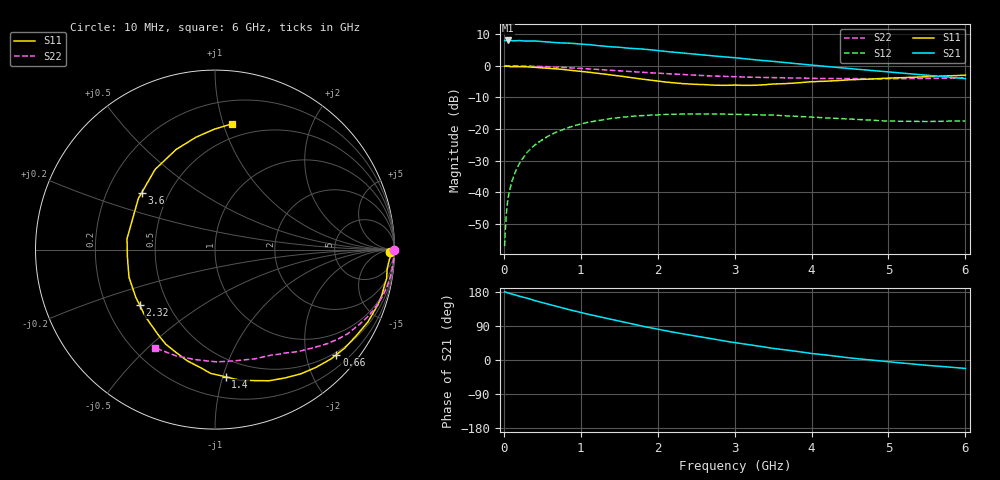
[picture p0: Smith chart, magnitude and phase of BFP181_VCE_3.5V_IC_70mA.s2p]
! Infineon Technologies  Discrete & RF Semiconductors
! BFP181
! VCE = 3.5 V,  IC =  70 mA
! Common Emitter S-Parameters:  Jan 2016
# GHz  S  MA  R  50
!  f  S11  S21  S12  S22
! GHz  MAG  ANG  MAG  ANG  MAG  ANG  MAG  ANG
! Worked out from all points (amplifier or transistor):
!   210 points, 10 MHz to 6 GHz, reference 50 ohm
!   highest |S21| = 8.0 dB at 50 MHz (marker M1)
!   |S21| within 3 dB of that: start of sweep to 1.929 GHz
!   unconditionally stable (mu >= 1): 3.534 GHz to end of sweep
!   at 185 MHz: K = 0.07, MSG = 19.8 dB, |S12| = -31.7 dB
!   at 1.52 GHz: K = 0.48, MSG = 11.1 dB, |S12| = -16.4 dB
!   at 6 GHz: K = 1.37, MAG = 3.1 dB, |S12| = -17.5 dB
!   S11 on the Smith chart (normalised r, x): 10 MHz: 62, -28; 660 MHz: 0.44, -2.62; 1.4 GHz: 0.36, -1.02; 2.32 GHz: 0.34, -0.29; 3.6 GHz: 0.35, +0.30; 6 GHz: 0.38, +1.07
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0.01  0.9737 -0.7  2.495 179.7  0.0014 93.0  0.9998 -0.1
0.03  0.9796 -1.9  2.492 178.7  0.0041 85.9  0.9978 -1.0
0.05  0.9748 -2.9  2.504 177.2  0.0073 90.2  0.997 -1.5
0.09  0.9667 -5.7  2.482 175.0  0.0128 86.6  0.9972 -2.6
0.135  0.968 -8.6  2.471 172.4  0.0189 83.9  0.9956 -3.9
0.2  0.9644 -12.6  2.497 168.5  0.0281 81.3  0.9939 -6.0
0.28  0.96 -17.5  2.456 164.3  0.0392 78.1  0.9894 -8.3
0.48  0.9252 -30.1  2.424 152.4  0.0649 69.0  0.9739 -14.1
0.66  0.8948 -40.9  2.327 143.0  0.0863 61.9  0.9533 -19.0
0.9  0.8412 -55.4  2.252 130.3  0.1112 52.7  0.9206 -25.1
1.02  0.8085 -62.7  2.185 124.5  0.1208 48.4  0.9015 -28.0
1.1  0.79 -67.7  2.164 120.5  0.1278 45.6  0.8898 -29.8
1.4  0.711 -85.2  1.986 107.1  0.1466 35.9  0.8457 -36.3
1.7  0.6388 -104.0  1.872 93.9  0.1593 27.7  0.8 -41.8
2.02  0.5671 -124.6  1.721 80.6  0.168 20.1  0.7586 -46.9
2.32  0.5211 -143.8  1.585 69.3  0.1715 13.5  0.7248 -51.8
2.8  0.49 -174.9  1.4 52.4  0.1718 4.9  0.6816 -58.9
3.1  0.4891 167.5  1.298 43.1  0.169 0.3  0.6614 -63.5
3.6  0.517 142.2  1.139 28.3  0.1628 -5.2  0.6434 -71.5
4.1  0.5623 123.5  0.997 15.1  0.1519 -9.2  0.628 -80.8
5.1  0.6408 97.7  0.776 -6.6  0.1325 -9.8  0.6223 -101.7
6  0.7061 82.5  0.625 -22.3  0.1338 -4.2  0.641 -121.2
